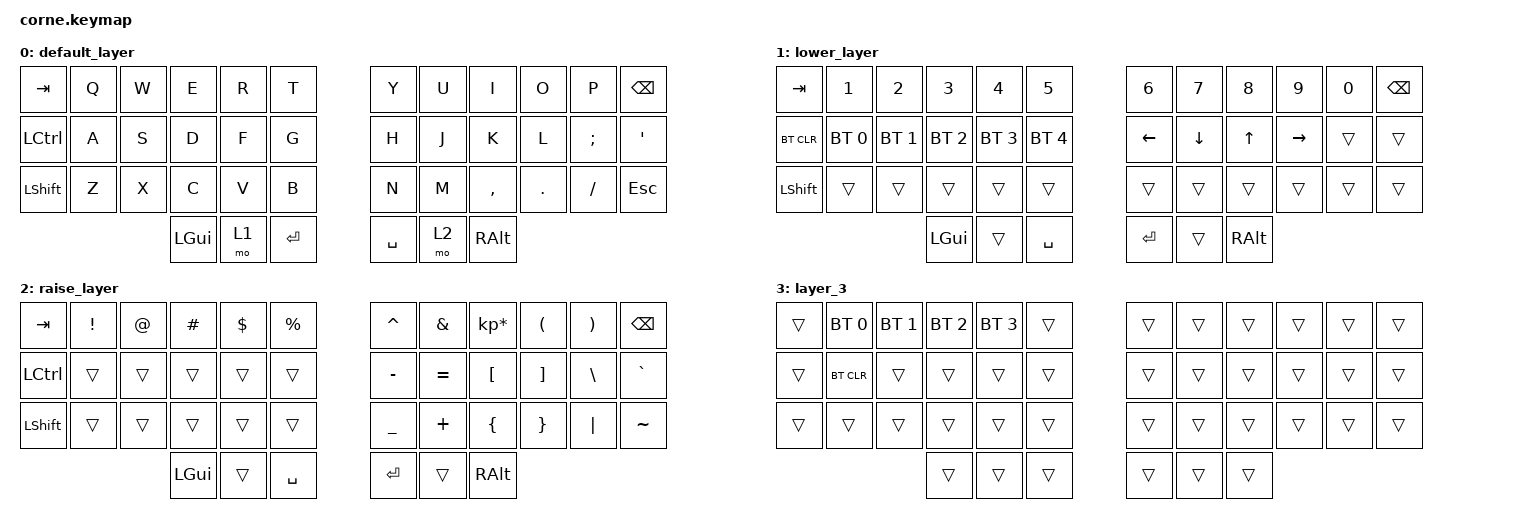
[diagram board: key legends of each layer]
/*
 * Copyright (c) 2020 The ZMK Contributors
 *
 * SPDX-License-Identifier: MIT
 */

#include <behaviors.dtsi>
#include <dt-bindings/zmk/bt.h>
#include <dt-bindings/zmk/keys.h>
#include <dt-bindings/zmk/rgb.h>
#include <dt-bindings/zmk/ext_power.h>
/ {
    behaviors {
        hm: homerow_mods {
            compatible = "zmk,behavior-hold-tap";
            label = "HOMEROW_MODS";
            #binding-cells = <2>;
            tapping-term-ms = <200>;
            quick_tap_ms = <0>;
            flavor = "tap-preferred";
            bindings = <&kp>, <&kp>;

            quick-tap-ms = <180>;
            global-quick-tap;
        };

        ltq: ltq {
            compatible = "zmk,behavior-hold-tap";
            label = "LTQ";
            bindings = <&mo>, <&kp>;

            #binding-cells = <2>;
            tapping-term-ms = <600>;
            global-quick-tap;
            quick-tap-ms = <400>;
        };
    };

    combos {
        compatible = "zmk,combos";

        left_bkt {
            bindings = <&kp LEFT_BRACKET>;
            key-positions = <4 3>;
            timeout-ms = <50>;
        };

        right_bkt {
            bindings = <&kp RBKT>;
            key-positions = <7 8>;
            timeout-ms = <50>;
        };

        left_par {
            bindings = <&kp LEFT_PARENTHESIS>;
            key-positions = <15 16>;
            timeout-ms = <50>;
        };

        right_par {
            bindings = <&kp RIGHT_PARENTHESIS>;
            key-positions = <19 20>;
            timeout-ms = <50>;
        };

        left_brace {
            bindings = <&kp LEFT_BRACE>;
            key-positions = <27 28>;
            timeout-ms = <50>;
        };

        right_brace {
            bindings = <&kp RIGHT_BRACE>;
            key-positions = <32 31>;
            timeout-ms = <50>;
        };

        bac {
            bindings = <&kp BACKSLASH>;
            key-positions = <5 6>;
        };

        pipe {
            bindings = <&kp PIPE>;
            key-positions = <17 18>;
        };
    };

    keymap {
        compatible = "zmk,keymap";

        default_layer {
            bindings = <
   &kp TAB   &kp Q &kp W &kp E &kp R &kp T   &kp Y &kp U  &kp I     &kp O   &kp P    &kp BSPC
   &kp LCTRL &kp A &kp S &kp D &kp F &kp G   &kp H &kp J  &kp K     &kp L   &kp SEMI &kp SQT
   &kp LSHFT &kp Z &kp X &kp C &kp V &kp B   &kp N &kp M  &kp COMMA &kp DOT &kp FSLH &kp ESC
                  &kp LGUI &mo 1 &kp RET   &kp SPACE &mo 2 &kp RALT
            >;
        };

        lower_layer {
            bindings = <
   &kp TAB    &kp N1       &kp N2       &kp N3       &kp N4       &kp N5         &kp N6   &kp N7   &kp N8 &kp N9    &kp N0 &kp BSPC
   &bt BT_CLR &bt BT_SEL 0 &bt BT_SEL 1 &bt BT_SEL 2 &bt BT_SEL 3 &bt BT_SEL 4   &kp LEFT &kp DOWN &kp UP &kp RIGHT &trans &trans
   &kp LSHFT  &trans       &trans       &trans       &trans       &trans         &trans   &trans   &trans &trans    &trans &trans
                          	        &kp LGUI     &trans       &kp SPACE      &kp RET  &trans   &kp RALT
            >;
        };

        raise_layer {
            bindings = <
 &kp  TAB  &kp EXCL &kp AT &kp HASH &kp DLLR &kp PRCNT   &kp CARET &kp AMPS  &kp KP_MULTIPLY &kp LPAR &kp RPAR &kp BSPC
   &kp LCTRL &trans   &trans &trans   &trans   &trans      &kp MINUS &kp EQUAL &kp LBKT        &kp RBKT &kp BSLH &kp GRAVE
   &kp LSHFT &trans   &trans &trans   &trans   &trans      &kp UNDER &kp PLUS  &kp LBRC        &kp RBRC &kp PIPE &kp TILDE
                    	     &kp LGUI &trans   &kp SPACE   &kp RET   &trans    &kp RALT
            >;
        };

        layer_3 {
            bindings = <
&trans  &bt BT_SEL 0  &bt BT_SEL 1  &bt BT_SEL 2  &bt BT_SEL 3  &trans  &trans  &trans  &trans  &trans  &trans  &trans
&trans  &bt BT_CLR    &trans        &trans        &trans        &trans  &trans  &trans  &trans  &trans  &trans  &trans
&trans  &trans        &trans        &trans        &trans        &trans  &trans  &trans  &trans  &trans  &trans  &trans
                                    &trans        &trans        &trans  &trans  &trans  &trans
            >;
        };
        extra1 {
            status = "reserved";
        };
        extra2 {
            status = "reserved";
        };
        extra3 {
            status = "reserved";
        };
        extra4 {
            status = "reserved";
        };

    };
};
